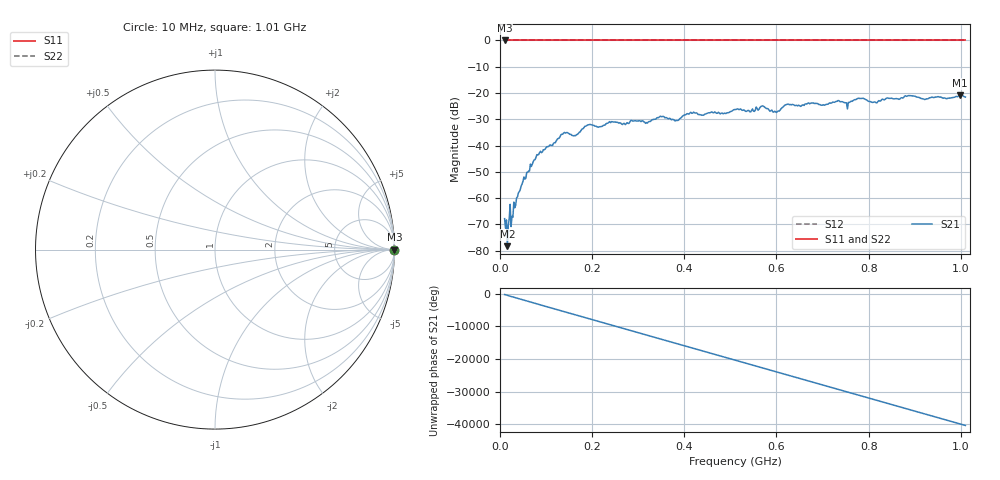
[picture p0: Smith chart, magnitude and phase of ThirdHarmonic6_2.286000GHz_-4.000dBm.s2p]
! 8/17/2025 2:59:53 AM
! C:\ANRITSUVNA\TEMP\TEMP.S2P
! CHANNEL.1
! TR.MEASUREMENT
! RAW.DATA
! RF.CORRECTION.OFF
! AVERAGING.OFF
! IF.BANDWIDTH: 5KHZ
! SWEEPTYPE:  FREQ.SWEEP(Linear)
! Reference Plane Port Info
! PORT:  PORT1  PORT2
! DISTANCE:  0  m  0  m
! TIME:  0  s  0  s
! PHASE.OFFSET:  0  deg.  0  deg.
! LOSS:  0  dB  0  dB
! REF.LOSS:  0  dB  0  dB
! REF.FREQ:  0  Hz  0  Hz
! Power Info
! POWER:  -20  dBm  -20  dBm
! EFF.POWER:  -20  dBm  -20  dBm
! SOURCE.ATTEN:  0  dB  0  dB
! TEST.ATTEN:  0  dB  0  dB
# GHZ S RI R 50.0
! FREQ.GHZ  S11RE  S11IM  S21RE  S21IM  S12RE  S12IM  S22RE  S22IM
!; PortSelection: Port_12
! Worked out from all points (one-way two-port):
!   501 points, 10 MHz to 1.01 GHz, reference 50 ohm
!   highest |S21| = -20.80 dB at 998 MHz (marker M1); lowest = -78.3 dB at 16 MHz (marker M2)
!   lowest |S11| = 0.0 dB at 10 MHz (marker M3)
!   |S11| at or under -10 dB: nowhere
!   |S22| runs from 0.0 to 0.0 dB; largest |S21 - S12| = 1.1
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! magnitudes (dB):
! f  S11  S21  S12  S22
! 10 MHz  0.0  -67.8  0.0  0.0
! 16 MHz  0.0  -78.3  0.0  0.0
! 48 MHz  0.0  -54.6  0.0  0.0
! 84 MHz  0.0  -43.4  0.0  0.0
! 136 MHz  0.0  -35.7  0.0  0.0
! 162 MHz  0.0  -36.2  0.0  0.0
! 178 MHz  0.0  -33.7  0.0  0.0
! 194 MHz  0.0  -32.0  0.0  0.0
! 318 MHz  0.0  -31.2  0.0  0.0
! 344 MHz  0.0  -29.4  0.0  0.0
! 384 MHz  0.0  -30.4  0.0  0.0
! 416 MHz  0.0  -27.7  0.0  0.0
! 510 MHz  0.0  -26.3  0.0  0.0
! 570 MHz  0.0  -24.9  0.0  0.0
! 598 MHz  0.0  -27.1  0.0  0.0
! 622 MHz  0.0  -24.4  0.0  0.0
! 678 MHz  0.0  -23.8  0.0  0.0
! 782 MHz  0.0  -22.1  0.0  0.0
! 814 MHz  0.0  -23.4  0.0  0.0
! 844 MHz  0.0  -22.0  0.0  0.0
! 998 MHz  0.0  -20.8  0.0  0.0
! 1.01 GHz  0.0  -21.5  0.0  0.0
